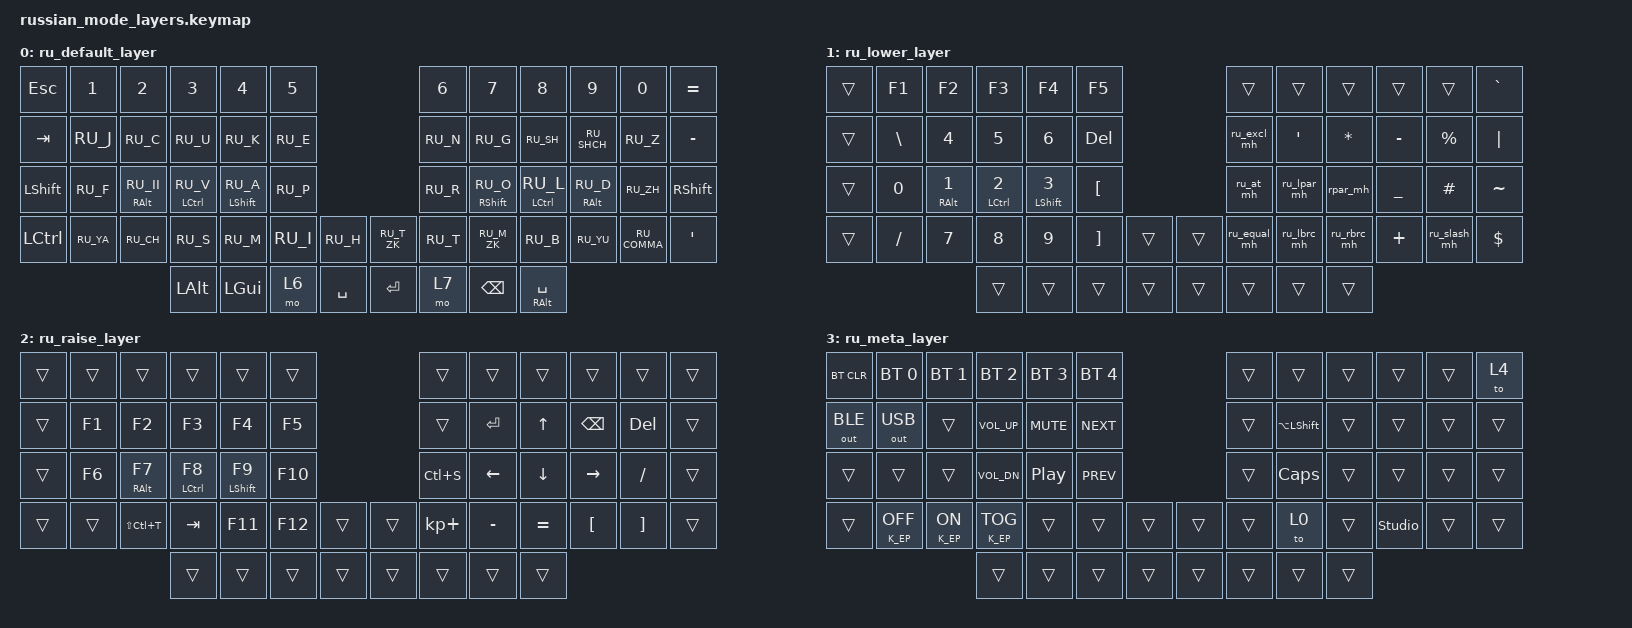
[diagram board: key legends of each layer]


ZMK_LAYER(ru_default_layer,
//╭------------┬------------┬------------┬------------┬------------┬------------┬----------╮ ╭----------┬------------┬------------┬------------┬------------┬------------┬------------╮
   &kp ESC      &kp N1       &kp N2       &kp N3       &kp N4       &kp N5                               &kp N6       &kp N7       &kp N8       &kp N9       &kp N0       &kp EQUAL
//├------------┼------------┼------------┼------------┼------------┼------------┤          | |          ├------------┼------------┼------------┼------------┼------------┼------------┤
   &kp TAB      &kp RU_J     &kp RU_C     &kp RU_U     &kp RU_K     &kp RU_E                             &kp RU_N     &kp RU_G     &kp RU_SH    &kp RU_SHCH  &kp RU_Z     &kp MINUS
//├------------┼------------┼------------┼------------┼------------┼------------┤          | |          ├------------┼------------┼------------┼------------┼------------┼------------┤
   &kp LSHIFT   &kp RU_F &hml RALT RU_II &hml LCTRL RU_V &hml LSHIFT RU_A &kp RU_P                       &kp RU_R &hmr RSHIFT RU_O &hmr LCTRL RU_L &hmr RALT RU_D &kp RU_ZH &kp RSHIFT
//├------------┼------------┼------------┼------------┼------------┼------------┼----------┤ ├----------┼------------┼------------┼------------┼------------┼------------┼------------┤
   &kp LCTRL    &kp RU_YA    &kp RU_CH    &kp RU_S     &kp RU_M     &kp RU_I     &kp RU_H     &kp RU_T_ZK &kp RU_T    &kp RU_M_ZK  &kp RU_B     &kp RU_YU    &kp RU_COMMA &kp SQT
//╰------------┴------------┴------------┼------------┼------------┼------------┼----------┤ ├----------┼------------┼------------┼------------┼------------┴------------┴------------╯
                                          &kp LALT     &kp LGUI     &mo 6        &kp SPACE    &kp RET    &mo 7        &kp BSPC     &mt RALT SPACE
//                                       ╰------------┴------------┴------------┴----------╯ ╰----------┴------------┴------------┴------------╯
)

ZMK_LAYER(ru_lower_layer,
//╭------------┬------------┬------------┬------------┬------------┬------------┬----------╮ ╭----------┬------------┬------------┬------------┬------------┬------------┬------------╮
   &trans       &kp F1       &kp F2       &kp F3       &kp F4       &kp F5                               &trans       &trans       &trans       &trans       &trans       &kp GRAVE
//├------------┼------------┼------------┼------------┼------------┼------------┤          | |          ├------------┼------------┼------------┼------------┼------------┼------------┤
   &trans       &kp BSLH     &kp N4       &kp N5       &kp N6       &kp DEL                              &ru_excl_mh  &kp SQT      &kp ASTRK    &kp MINUS    &kp PRCNT    &kp PIPE
//├------------┼------------┼------------┼------------┼------------┼------------┤          | |          ├------------┼------------┼------------┼------------┼------------┼------------┤
   &trans       &kp N0       &hml RALT N1 &hml LCTRL N2 &hml LSHIFT N3 &kp LBKT                          &ru_at_mh    &ru_lpar_mh  &rpar_mh     &kp UNDER    &kp HASH     &kp TILDE
//├------------┼------------┼------------┼------------┼------------┼------------┼----------┤ ├----------┼------------┼------------┼------------┼------------┼------------┼------------┤
   &trans       &kp SLASH    &kp N7       &kp N8       &kp N9       &kp RBKT     &trans       &trans     &ru_equal_mh &ru_lbrc_mh  &ru_rbrc_mh  &kp PLUS     &ru_slash_mh &kp DOLLAR
//╰------------┴------------┴------------┼------------┼------------┼------------┼----------┤ ├----------┼------------┼------------┼------------┼------------┴------------┴------------╯
                                          &trans       &trans       &trans       &trans       &trans     &trans       &trans       &trans
//                                       ╰------------┴------------┴------------┴----------╯ ╰----------┴------------┴------------┴------------╯
)

ZMK_LAYER(ru_raise_layer,
//╭------------┬------------┬------------┬------------┬------------┬------------┬----------╮ ╭----------┬------------┬------------┬------------┬------------┬------------┬------------╮
   &trans       &trans       &trans       &trans       &trans       &trans                               &trans       &trans       &trans       &trans       &trans       &trans
//├------------┼------------┼------------┼------------┼------------┼------------┤          | |          ├------------┼------------┼------------┼------------┼------------┼------------┤
   &trans       &kp F1       &kp F2       &kp F3       &kp F4       &kp F5                               &trans       &kp RET      &kp UP       &kp BSPC     &kp DEL      &trans
//├------------┼------------┼------------┼------------┼------------┼------------┤          | |          ├------------┼------------┼------------┼------------┼------------┼------------┤
   &trans       &kp F6       &hml RALT F7 &hml LCTRL F8 &hml LSHIFT F9 &kp F10                           &kp LC(S)    &kp LEFT     &kp DOWN     &kp RIGHT    &kp SLASH    &trans
//├------------┼------------┼------------┼------------┼------------┼------------┼----------┤ ├----------┼------------┼------------┼------------┼------------┼------------┼------------┤
   &trans       &trans       &kp LS(LC(T)) &kp TAB     &kp F11      &kp F12      &trans       &trans     &kp KP_PLUS  &kp MINUS    &kp EQUAL    &kp LBKT     &kp RBKT     &trans   
//╰------------┴------------┴------------┼------------┼------------┼------------┼----------┤ ├----------┼------------┼------------┼------------┼------------┴------------┴------------╯
                                          &trans       &trans       &trans       &trans       &trans       &trans     &trans       &trans
//                                       ╰------------┴------------┴------------┴----------╯ ╰----------┴------------┴------------┴------------╯
)

ZMK_LAYER(ru_meta_layer,
//╭------------┬------------┬------------┬------------┬------------┬------------┬----------╮ ╭----------┬------------┬------------┬------------┬------------┬------------┬------------╮
   &bt BT_CLR   &bt BT_SEL 0 &bt BT_SEL 1 &bt BT_SEL 2 &bt BT_SEL 3 &bt BT_SEL 4                         &trans       &trans       &trans       &trans       &trans       &to 4
//├------------┼------------┼------------┼------------┼------------┼------------┤          | |          ├------------┼------------┼------------┼------------┼------------┼------------┤
   &out OUT_BLE &out OUT_USB &trans       &kp C_VOL_UP &kp C_MUTE   &kp C_NEXT                           &trans       &kp LA(LSHFT) &trans      &trans       &trans       &trans
//├------------┼------------┼------------┼------------┼------------┼------------┤          | |          ├------------┼------------┼------------┼------------┼------------┼------------┤
   &trans       &trans       &trans       &kp C_VOL_DN &kp C_PLAY_PAUSE &kp C_PREV                       &trans       &kp CAPSLOCK &trans       &trans       &trans       &trans
//├------------┼------------┼------------┼------------┼------------┼------------┼----------┤ ├----------┼------------┼------------┼------------┼------------┼------------┼------------┤
   &trans       &K_EP EP_OFF &K_EP EP_ON  &K_EP EP_TOG &trans       &trans       &trans       &trans     &trans       &to 0        &trans       &studio_unlock &trans     &trans
//╰------------┴------------┴------------┼------------┼------------┼------------┼----------┤ ├----------┼------------┼------------┼------------┼------------┴------------┴------------╯
                                          &trans       &trans       &trans       &trans       &trans     &trans       &trans       &trans
//                                       ╰------------┴------------┴------------┴----------╯ ╰----------┴------------┴------------┴------------╯
)

ZMK_CONDITIONAL_LAYER(ru_meta_layer_condition, 6 7, 8)
